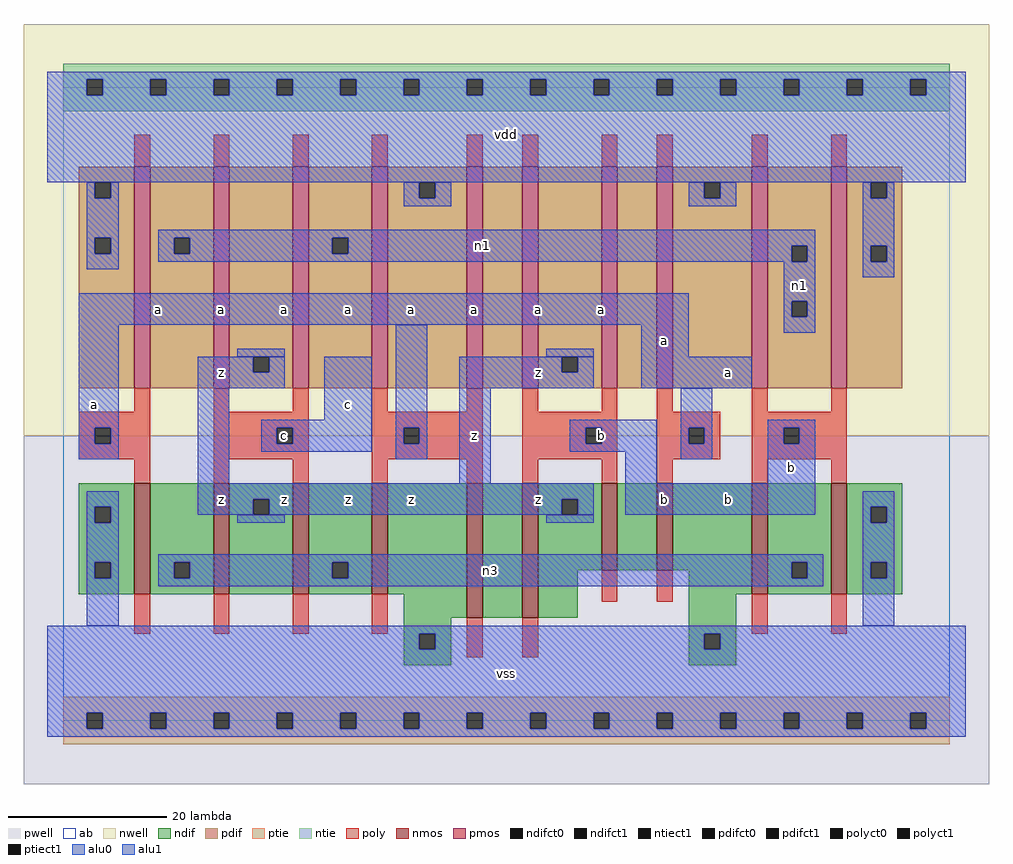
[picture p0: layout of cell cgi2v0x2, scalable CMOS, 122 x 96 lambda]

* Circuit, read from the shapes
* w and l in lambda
.subckt cgi2v0x2 a b c n1 n3 vdd vss z
M1 n3 a vss vss nfet w=14 l=2 m=2
M2 z c n3 vss nfet w=14 l=2 m=2
M3 n2 a vss vss nfet w=17 l=2
M4 z b n2 vss nfet w=17 l=2
M5 n4 b z vss nfet w=11 l=2
M6 vss a n4 vss nfet w=11 l=2
M7 n3 b vss vss nfet w=14 l=2 m=2
M8 n1 a vdd vdd pfet w=28 l=2 m=2
M9 z c n1 vdd pfet w=28 l=2 m=2
M10 n5 a vdd vdd pfet w=28 l=2
M11 z b n5 vdd pfet w=28 l=2
M12 n6 b z vdd pfet w=28 l=2
M13 vdd a n6 vdd pfet w=28 l=2
M14 n1 b vdd vdd pfet w=28 l=2 m=2
.ends

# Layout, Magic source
magic
tech scmos
<< ab >>
rect 0 0 112 80
<< nwell >>
rect -5 36 117 88
<< pwell >>
rect -5 -8 117 36
<< poly >>
rect 9 70 11 74
rect 19 70 21 74
rect 29 70 31 74
rect 39 70 41 74
rect 51 70 53 74
rect 58 70 60 74
rect 68 70 70 74
rect 75 70 77 74
rect 87 70 89 74
rect 97 70 99 74
rect 9 39 11 42
rect 2 37 11 39
rect 2 35 4 37
rect 6 35 11 37
rect 2 33 11 35
rect 9 30 11 33
rect 19 39 21 42
rect 29 39 31 42
rect 19 37 31 39
rect 19 35 27 37
rect 29 35 31 37
rect 19 33 31 35
rect 19 30 21 33
rect 29 30 31 33
rect 39 39 41 42
rect 51 39 53 42
rect 39 37 53 39
rect 39 35 43 37
rect 45 35 53 37
rect 39 33 53 35
rect 39 30 41 33
rect 51 30 53 33
rect 58 39 60 42
rect 68 39 70 42
rect 58 37 70 39
rect 58 35 66 37
rect 68 35 70 37
rect 58 33 70 35
rect 58 30 60 33
rect 68 30 70 33
rect 75 39 77 42
rect 87 39 89 42
rect 97 39 99 42
rect 75 37 83 39
rect 75 35 79 37
rect 81 35 83 37
rect 75 33 83 35
rect 87 37 99 39
rect 87 35 91 37
rect 93 35 99 37
rect 87 33 99 35
rect 75 30 77 33
rect 87 30 89 33
rect 97 30 99 33
rect 9 11 11 16
rect 19 11 21 16
rect 29 11 31 16
rect 39 11 41 16
rect 68 15 70 19
rect 75 15 77 19
rect 51 8 53 13
rect 58 8 60 13
rect 87 11 89 16
rect 97 11 99 16
<< ndif >>
rect 2 27 9 30
rect 2 25 4 27
rect 6 25 9 27
rect 2 20 9 25
rect 2 18 4 20
rect 6 18 9 20
rect 2 16 9 18
rect 11 20 19 30
rect 11 18 14 20
rect 16 18 19 20
rect 11 16 19 18
rect 21 28 29 30
rect 21 26 24 28
rect 26 26 29 28
rect 21 16 29 26
rect 31 20 39 30
rect 31 18 34 20
rect 36 18 39 20
rect 31 16 39 18
rect 41 16 51 30
rect 43 13 51 16
rect 53 13 58 30
rect 60 28 68 30
rect 60 26 63 28
rect 65 26 68 28
rect 60 19 68 26
rect 70 19 75 30
rect 77 19 87 30
rect 60 13 65 19
rect 79 16 87 19
rect 89 20 97 30
rect 89 18 92 20
rect 94 18 97 20
rect 89 16 97 18
rect 99 27 106 30
rect 99 25 102 27
rect 104 25 106 27
rect 99 20 106 25
rect 99 18 102 20
rect 104 18 106 20
rect 99 16 106 18
rect 43 11 49 13
rect 43 9 45 11
rect 47 9 49 11
rect 43 7 49 9
rect 79 11 85 16
rect 79 9 81 11
rect 83 9 85 11
rect 79 7 85 9
<< pdif >>
rect 2 68 9 70
rect 2 66 4 68
rect 6 66 9 68
rect 2 61 9 66
rect 2 59 4 61
rect 6 59 9 61
rect 2 42 9 59
rect 11 61 19 70
rect 11 59 14 61
rect 16 59 19 61
rect 11 42 19 59
rect 21 46 29 70
rect 21 44 24 46
rect 26 44 29 46
rect 21 42 29 44
rect 31 61 39 70
rect 31 59 34 61
rect 36 59 39 61
rect 31 42 39 59
rect 41 68 51 70
rect 41 66 45 68
rect 47 66 51 68
rect 41 42 51 66
rect 53 42 58 70
rect 60 46 68 70
rect 60 44 63 46
rect 65 44 68 46
rect 60 42 68 44
rect 70 42 75 70
rect 77 68 87 70
rect 77 66 81 68
rect 83 66 87 68
rect 77 42 87 66
rect 89 60 97 70
rect 89 58 92 60
rect 94 58 97 60
rect 89 53 97 58
rect 89 51 92 53
rect 94 51 97 53
rect 89 42 97 51
rect 99 68 106 70
rect 99 66 102 68
rect 104 66 106 68
rect 99 60 106 66
rect 99 58 102 60
rect 104 58 106 60
rect 99 42 106 58
<< alu1 >>
rect -2 81 114 82
rect -2 79 3 81
rect 5 79 11 81
rect 13 79 19 81
rect 21 79 27 81
rect 29 79 35 81
rect 37 79 43 81
rect 45 79 51 81
rect 53 79 59 81
rect 61 79 67 81
rect 69 79 75 81
rect 77 79 83 81
rect 85 79 91 81
rect 93 79 99 81
rect 101 79 107 81
rect 109 79 114 81
rect -2 68 114 79
rect 2 50 79 54
rect 2 37 7 50
rect 2 35 4 37
rect 6 35 7 37
rect 2 33 7 35
rect 17 44 24 46
rect 26 44 28 46
rect 17 42 28 44
rect 17 30 21 42
rect 33 38 39 46
rect 25 37 39 38
rect 25 35 27 37
rect 29 35 39 37
rect 25 34 39 35
rect 50 44 63 46
rect 65 44 67 46
rect 50 42 67 44
rect 73 46 79 50
rect 73 42 87 46
rect 50 30 54 42
rect 64 37 75 38
rect 64 35 66 37
rect 68 35 75 37
rect 64 34 75 35
rect 71 30 75 34
rect 89 37 95 38
rect 89 35 91 37
rect 93 35 95 37
rect 89 30 95 35
rect 17 28 67 30
rect 17 26 24 28
rect 26 26 63 28
rect 65 26 67 28
rect 71 26 95 30
rect -2 11 114 12
rect -2 9 45 11
rect 47 9 81 11
rect 83 9 114 11
rect -2 1 114 9
rect -2 -1 3 1
rect 5 -1 11 1
rect 13 -1 19 1
rect 21 -1 27 1
rect 29 -1 35 1
rect 37 -1 43 1
rect 45 -1 51 1
rect 53 -1 59 1
rect 61 -1 67 1
rect 69 -1 75 1
rect 77 -1 83 1
rect 85 -1 91 1
rect 93 -1 99 1
rect 101 -1 107 1
rect 109 -1 114 1
rect -2 -2 114 -1
<< ptie >>
rect 0 1 112 3
rect 0 -1 3 1
rect 5 -1 11 1
rect 13 -1 19 1
rect 21 -1 27 1
rect 29 -1 35 1
rect 37 -1 43 1
rect 45 -1 51 1
rect 53 -1 59 1
rect 61 -1 67 1
rect 69 -1 75 1
rect 77 -1 83 1
rect 85 -1 91 1
rect 93 -1 99 1
rect 101 -1 107 1
rect 109 -1 112 1
rect 0 -3 112 -1
<< ntie >>
rect 0 81 112 83
rect 0 79 3 81
rect 5 79 11 81
rect 13 79 19 81
rect 21 79 27 81
rect 29 79 35 81
rect 37 79 43 81
rect 45 79 51 81
rect 53 79 59 81
rect 61 79 67 81
rect 69 79 75 81
rect 77 79 83 81
rect 85 79 91 81
rect 93 79 99 81
rect 101 79 107 81
rect 109 79 112 81
rect 0 77 112 79
<< nmos >>
rect 9 16 11 30
rect 19 16 21 30
rect 29 16 31 30
rect 39 16 41 30
rect 51 13 53 30
rect 58 13 60 30
rect 68 19 70 30
rect 75 19 77 30
rect 87 16 89 30
rect 97 16 99 30
<< pmos >>
rect 9 42 11 70
rect 19 42 21 70
rect 29 42 31 70
rect 39 42 41 70
rect 51 42 53 70
rect 58 42 60 70
rect 68 42 70 70
rect 75 42 77 70
rect 87 42 89 70
rect 97 42 99 70
<< polyct0 >>
rect 43 35 45 37
rect 79 35 81 37
<< polyct1 >>
rect 4 35 6 37
rect 27 35 29 37
rect 66 35 68 37
rect 91 35 93 37
<< ndifct0 >>
rect 4 25 6 27
rect 4 18 6 20
rect 14 18 16 20
rect 34 18 36 20
rect 92 18 94 20
rect 102 25 104 27
rect 102 18 104 20
<< ndifct1 >>
rect 24 26 26 28
rect 63 26 65 28
rect 45 9 47 11
rect 81 9 83 11
<< ntiect1 >>
rect 3 79 5 81
rect 11 79 13 81
rect 19 79 21 81
rect 27 79 29 81
rect 35 79 37 81
rect 43 79 45 81
rect 51 79 53 81
rect 59 79 61 81
rect 67 79 69 81
rect 75 79 77 81
rect 83 79 85 81
rect 91 79 93 81
rect 99 79 101 81
rect 107 79 109 81
<< ptiect1 >>
rect 3 -1 5 1
rect 11 -1 13 1
rect 19 -1 21 1
rect 27 -1 29 1
rect 35 -1 37 1
rect 43 -1 45 1
rect 51 -1 53 1
rect 59 -1 61 1
rect 67 -1 69 1
rect 75 -1 77 1
rect 83 -1 85 1
rect 91 -1 93 1
rect 99 -1 101 1
rect 107 -1 109 1
<< pdifct0 >>
rect 4 66 6 68
rect 4 59 6 61
rect 14 59 16 61
rect 34 59 36 61
rect 45 66 47 68
rect 81 66 83 68
rect 92 58 94 60
rect 92 51 94 53
rect 102 66 104 68
rect 102 58 104 60
<< pdifct1 >>
rect 24 44 26 46
rect 63 44 65 46
<< alu0 >>
rect 3 66 4 68
rect 6 66 7 68
rect 3 61 7 66
rect 43 66 45 68
rect 47 66 49 68
rect 43 65 49 66
rect 79 66 81 68
rect 83 66 85 68
rect 79 65 85 66
rect 101 66 102 68
rect 104 66 105 68
rect 3 59 4 61
rect 6 59 7 61
rect 3 57 7 59
rect 12 61 95 62
rect 12 59 14 61
rect 16 59 34 61
rect 36 60 95 61
rect 36 59 92 60
rect 12 58 92 59
rect 94 58 95 60
rect 22 46 28 47
rect 42 37 46 50
rect 61 46 67 47
rect 42 35 43 37
rect 45 35 46 37
rect 42 33 46 35
rect 91 53 95 58
rect 101 60 105 66
rect 101 58 102 60
rect 104 58 105 60
rect 101 56 105 58
rect 91 51 92 53
rect 94 51 95 53
rect 91 49 95 51
rect 78 37 82 42
rect 78 35 79 37
rect 81 35 82 37
rect 78 33 82 35
rect 3 27 7 29
rect 3 25 4 27
rect 6 25 7 27
rect 101 27 105 29
rect 22 25 28 26
rect 61 25 67 26
rect 101 25 102 27
rect 104 25 105 27
rect 3 20 7 25
rect 3 18 4 20
rect 6 18 7 20
rect 3 12 7 18
rect 12 20 96 21
rect 12 18 14 20
rect 16 18 34 20
rect 36 18 92 20
rect 94 18 96 20
rect 12 17 96 18
rect 101 20 105 25
rect 101 18 102 20
rect 104 18 105 20
rect 101 12 105 18
<< labels >>
rlabel alu0 54 19 54 19 6 n3
rlabel alu0 93 55 93 55 6 n1
rlabel alu0 53 60 53 60 6 n1
rlabel alu1 4 40 4 40 6 a
rlabel alu1 12 52 12 52 6 a
rlabel alu1 20 28 20 28 6 z
rlabel alu1 36 28 36 28 6 z
rlabel alu1 28 28 28 28 6 z
rlabel alu1 20 44 20 44 6 z
rlabel alu1 36 40 36 40 6 c
rlabel polyct1 28 36 28 36 6 c
rlabel alu1 36 52 36 52 6 a
rlabel alu1 28 52 28 52 6 a
rlabel alu1 20 52 20 52 6 a
rlabel alu1 56 6 56 6 6 vss
rlabel alu1 44 28 44 28 6 z
rlabel alu1 60 28 60 28 6 z
rlabel alu1 60 44 60 44 6 z
rlabel alu1 52 36 52 36 6 z
rlabel alu1 60 52 60 52 6 a
rlabel alu1 52 52 52 52 6 a
rlabel alu1 44 52 44 52 6 a
rlabel alu1 56 74 56 74 6 vdd
rlabel alu1 84 28 84 28 6 b
rlabel alu1 76 28 76 28 6 b
rlabel alu1 68 36 68 36 6 b
rlabel alu1 84 44 84 44 6 a
rlabel alu1 76 48 76 48 6 a
rlabel alu1 68 52 68 52 6 a
rlabel alu1 92 32 92 32 6 b
<< end >>
